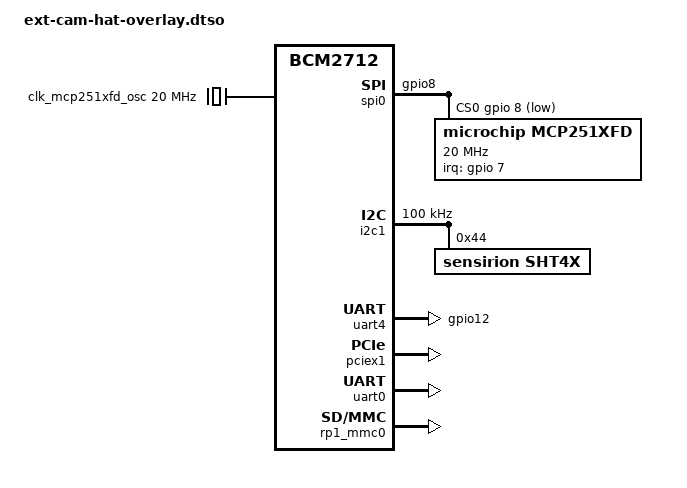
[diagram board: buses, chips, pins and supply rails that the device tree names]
/dts-v1/;
/plugin/;

/{
    compatible = "brcm,bcm2712";

    // Define any extra GPIO pinctrl definitions that aren't already provided by Raspberry Pi
    fragment@0 {
        target = <&rp1_gpio>;
        __overlay__ {
            // Define 1 pin cs mode
            rp1_spi0_cs_gpio8_1cs: rp1_spi0_cs_gpio8_1cs {
                function = "spi0";
                pins = "gpio8";
                bias-pull-up;
            };

            // Define uart 4 tx only configuration (since raspberry pi doesn't make one of these in their tree by default
            rp1_uart4_12_tx_only: rp1_uart4_12_tx_only {
                pin_txd {
                    function = "uart4";
                    pins = "gpio12";
                    bias-disable;
                };
            };

            // Define the interrupt pin for the MCP251xFD
            mcp251xfd_pins: mcp251xfd_pins {
                function = "gpio";
                pins = "gpio7";
                input-enable;
                bias-pull-up;
            };
        };
    };

    // Define the fixed clock we have on the External Camera HAT
    fragment@1 {
        target-path = "/clocks";
        __overlay__ {
            clk_mcp251xfd_osc: mcp251xfd-osc {
                #clock-cells = <0>;
                compatible = "fixed-clock";
                clock-frequency = <20000000>;
            };
        };
    };

    // Define spi0 for CAN bus
    fragment@2 {
        target = <&spi0>;
        __overlay__ {
            // Enable spi0
            status = "okay";
            #address-cells = <1>;
            #size-cells = <0>;

            // Redefine pinctrl to use our new only 1 cs port (rather than the 2 by default)
            pinctrl-0 = <&spi0_pins &rp1_spi0_cs_gpio8_1cs>;
            cs-gpios = <&gpio 8 1>;

            // Define the MCP2517FD CAN controller on the bus
            mcp251xfd: mcp251xfd@0 {
                compatible = "microchip,mcp251xfd";
                reg = <0>;
                pinctrl-names = "default";
                pinctrl-0 = <&mcp251xfd_pins>;
                spi-max-frequency = <20000000>;
                interrupt-parent = <&gpio>;
                interrupts = <7 8>;     // Pin 7, IRQ_TYPE_LEVEL_LOW
                clocks = <&clk_mcp251xfd_osc>;
            };

        };
    };

    // Disable spidev0 (since we are directly creating the mcp251xfd on this chip select)
    fragment@3 {
        target = <&spidev0>;
        __overlay__ {
            status = "disabled";
        };
    };
    // Disable spidev1 (since we disabled the cs1 pin)
    fragment@4 {
        target = <&spidev1>;
        __overlay__ {
            status = "disabled";
        };
    };

    // Enable i2c1 bus for sht41 & M.2 connector
    fragment@5 {
        target = <&i2c1>;
        __overlay__ {
            // Enable the i2c bus (all devices have 1 word address, no address length, cuz i2c)
            #address-cells = <1>;
            #size-cells = <0>;
            status = "okay";

            // Run i2c at 100 kHz
            clock-frequency = <100000>;

            // Pinmux GPIO 2 & 3 to the i2c1 hardware block
            pinctrl-0 = <&rp1_i2c1_2_3>;

            // We have 1 device on the i2c bus (M.2 also connects, but it can add its own device tree) The sht4x temperature sensor (Address 0x44)
            sht4x: sht4x@44 {
                compatible = "sensirion,sht4x";
                reg = <0x44>;
                status = "okay";
            };

        };
    };

    // Enable uart4 (TX only) for sending camera triggers using pin map defined above
    fragment@6 {
        target = <&uart4>;
        __overlay__ {
            status = "okay";
            pinctrl-0 = <&rp1_uart4_12_tx_only>;
        };
    };

    // This configures the various quirks to get the coral working over PCIe
    // More info can be found here: https://www.jeffgeerling.com/blog/2023/pcie-coral-tpu-finally-works-on-raspberry-pi-5
    // I just took his instructions and translated (almost all) into a device tree overlay so it can be autoloaded by the HAT
    fragment@7 {
        target = <&pciex1>;
        __overlay__ {
            // Enable External PCIe x1 lane
            status = "okay";

            // Switch pcie msi parent from mip1 to pcie1 so we have enough interrupts to run the coral
            // Not 100% sure how all this works, but I'm following what the Raspi Engineer says: https://forums.raspberrypi.com/viewtopic.php?p=2157674#p2157674
            msi-parent = <&pciex1>;

            // Also disable PCIe ASPM since the Coral will break if it enters sleep mode
            aspm-no-l0s;
        };
    };

    // This enables uart0 for use by the M.2 slot
    fragment@8 {
        target = <&uart0>;
        __overlay__ {
            status = "okay";
            pinctrl-0 = <&uart0_pins &uart0_ctsrts_pins>;
        };
    };

    // This enables SDIO for use by the M.2 slot
    fragment@9 {
        target = <&rp1_mmc0>;
        __overlay__ {
            status = "okay";
            pinctrl-0 = <&rp1_sdio0_22_27>;
            pinctrl-names = "default";
        };
    };
    fragment@10 {
        target = <&rp1_sdio_clk0>;
        frag1: __overlay__ {
            status = "okay";
        };
    };
};
